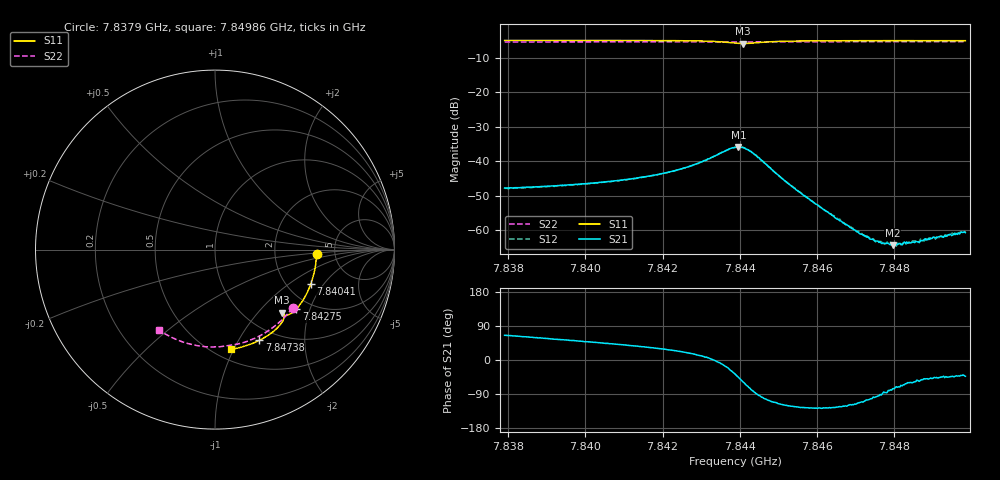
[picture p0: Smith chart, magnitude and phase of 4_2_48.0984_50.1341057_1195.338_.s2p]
#  HZ  S  RI  R  50.00
! Rohde & Schwarz Vector Network Analyzer
! Rohde-Schwarz,ZNB20-2Port,1311601062101988,3.16
! Created: UTC 12/23/2023, 3:34:59 AM
! freq[Hz]  re:S11  im:S11  re:S21  im:S21  re:S12  im:S12  re:S22  im:S22
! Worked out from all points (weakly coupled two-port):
!   401 points, 7.8379 GHz to 7.84986 GHz, reference 50 ohm
!   highest |S21| = -35.85 dB at 7.84397 GHz (marker M1); lowest = -64.3 dB at 7.84798 GHz (marker M2)
!   lowest |S11| = -5.8 dB at 7.84409 GHz (marker M3), VSWR 3.09, Z = 71.2 - j67.7 ohm
!   |S11| at or under -10 dB: nowhere
!   |S22| runs from -5.4 to -5.3 dB; largest |S21 - S12| = 0.00028
!   S11 on the Smith chart (normalised r, x): 7.8379 GHz: 3.60, -0.27; 7.84041 GHz: 2.68, -1.50; 7.84275 GHz: 1.67, -1.62; 7.84738 GHz: 0.83, -1.23; 7.84986 GHz: 0.60, -0.98
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7.837903e9  0.5663 -0.0257  0.00172 0.00372  0.00171 0.00365  0.4324 -0.3235
7.839906e9  0.5449 -0.1573  0.00306 0.00358  0.00303 0.00351  0.3351 -0.4244
7.840414e9  0.5343 -0.1899  0.0035 0.00352  0.00347 0.00351  0.3066 -0.4458
7.841908e9  0.4895 -0.283  0.00561 0.00327  0.00556 0.00327  0.2151 -0.4969
7.842745e9  0.4521 -0.3323  0.00825 0.00256  0.0082 0.00254  0.1599 -0.5174
7.843463e9  0.4037 -0.3652  0.0127 -0.00145  0.0127 -0.00143  0.1108 -0.529
7.843881e9  0.3729 -0.3603  0.0128 -0.0096  0.0128 -0.00943  0.0829 -0.5327
7.843971e9  0.3704 -0.3562  0.0112 -0.0116  0.0112 -0.0115  0.0772 -0.5334
7.84409e9  0.3713 -0.3513  0.0084 -0.0135  0.00852 -0.0134  0.0699 -0.5343
7.844419e9  0.3832 -0.3577  0.000509 -0.0123  0.000509 -0.0122  0.0487 -0.5381
7.845226e9  0.3673 -0.4137  -0.00246 -0.00429  -0.00248 -0.00431  -0.00789 -0.5428
7.845883e9  0.334 -0.4487  -0.00157 -0.0021  -0.00158 -0.00212  -0.0543 -0.5411
7.846541e9  0.2972 -0.4768  -0.000811 -0.00119  -0.000803 -0.00121  -0.1002 -0.5349
7.846989e9  0.2707 -0.493  -0.000438 -0.000905  -0.000444 -0.000911  -0.1311 -0.5285
7.847378e9  0.2473 -0.5056  -0.000174 -0.000723  -0.000193 -0.000743  -0.1576 -0.5215
7.847736e9  0.2255 -0.5158  6.33e-05 -0.000651  2.62e-05 -0.000608  -0.1815 -0.5139
7.847886e9  0.2164 -0.5199  0.000103 -0.000622  9.72e-05 -0.000633  -0.1915 -0.5103
7.847976e9  0.2106 -0.5222  0.000152 -0.000588  0.00015 -0.000608  -0.1972 -0.5081
7.848364e9  0.1862 -0.5315  0.000327 -0.000556  0.000301 -0.00059  -0.2226 -0.4978
7.848543e9  0.1751 -0.5352  0.000355 -0.000559  0.000381 -0.000579  -0.234 -0.4927
7.848812e9  0.1577 -0.5406  0.000485 -0.000577  0.000457 -0.000562  -0.251 -0.4845
7.849859e9  0.0895 -0.5555  0.000675 -0.000627  0.000733 -0.000641  -0.314 -0.4467
